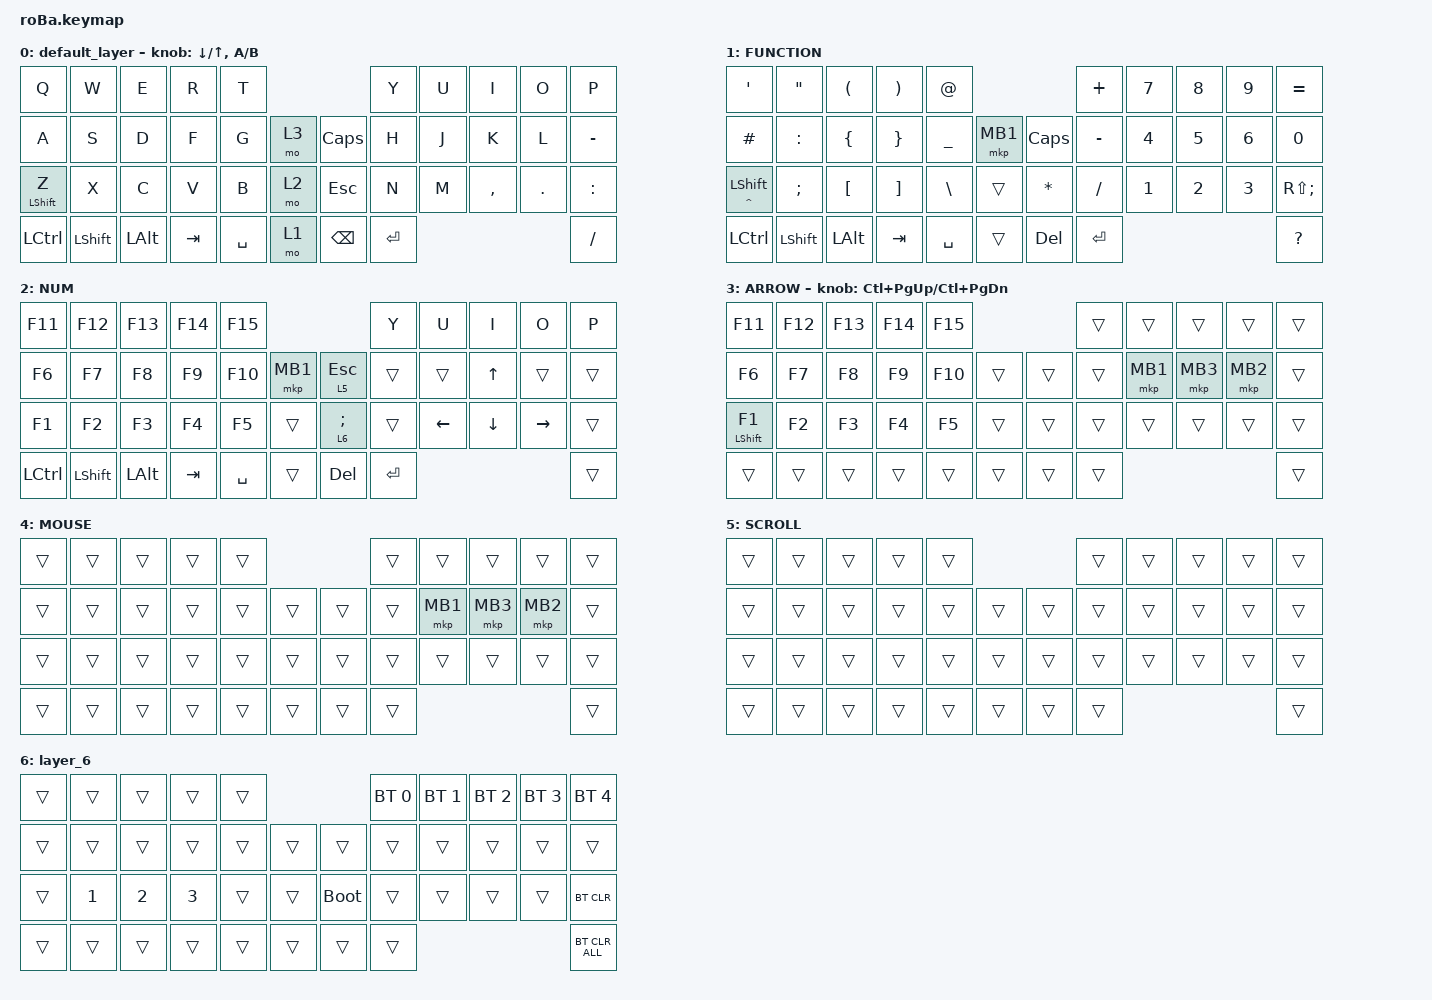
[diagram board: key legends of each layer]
#include <behaviors.dtsi>
#include <dt-bindings/zmk/bt.h>
#include <dt-bindings/zmk/keys.h>
#include <dt-bindings/zmk/pointing.h>

&mt {
    flavor = "balanced";
    quick-tap-ms = <0>;
};

&trackball {
    automouse-layer = <4>;
    scroll-layers = <5>;

    // arrows {
    //     layers = <3>;
    //     bindings =
    //         <&kp RIGHT_ARROW>,
    //         <&kp LEFT_ARROW>,
    //         <&kp UP_ARROW>,
    //         <&kp DOWN_ARROW>;
    //     tick = <10>;
    //     wait-ms = <5>;
    //     tap-ms = <5>;
    // };
};

/ {
    combos {
        compatible = "zmk,combos";

        tab {
            bindings = <&kp TAB>;
            key-positions = <11 12>;
        };

        shift_tab {
            bindings = <&kp LS(TAB)>;
            key-positions = <12 13>;
        };

        muhennkann {
            bindings = <&to_layer_0 INT_MUHENKAN>;
            key-positions = <11 10>;
        };

        double_quotation {
            bindings = <&kp DOUBLE_QUOTES>;
            key-positions = <20 21>;
        };

        eq {
            bindings = <&kp EQUAL>;
            key-positions = <24 25>;
        };
    };

    macros {
        to_layer_0: to_layer_0 {
            compatible = "zmk,behavior-macro-one-param";
            #binding-cells = <1>;
            bindings = <&to 0 &macro_param_1to1 &kp MACRO_PLACEHOLDER>;
            label = "TO_LAYER_0";
        };
    };

    behaviors {
        lt_to_layer_0: lt_to_layer_0 {
            compatible = "zmk,behavior-hold-tap";
            label = "LAYER_TAP_TO_0";
            bindings = <&mo>, <&to_layer_0>;

            #binding-cells = <2>;
            tapping-term-ms = <200>;
        };
    };

    keymap {
        compatible = "zmk,keymap";

        default_layer {
            bindings = <
&kp Q             &kp W           &kp E         &kp R    &kp T                                &kp Y      &kp U  &kp I      &kp O       &kp P
&kp A             &kp S           &kp D         &kp F    &kp G      &mo 3      &kp CAPSLOCK   &kp H      &kp J  &kp K      &kp L       &kp MINUS
&mt LEFT_SHIFT Z  &kp X           &kp C         &kp V    &kp B      &mo 2      &kp ESCAPE     &kp N      &kp M  &kp COMMA  &kp PERIOD  &kp COLON
&kp LCTRL         &kp LEFT_SHIFT  &kp LEFT_ALT  &kp TAB  &kp SPACE  &mo 1      &kp BACKSPACE  &kp ENTER                                &kp SLASH
            >;

            sensor-bindings =
                <&inc_dec_kp DOWN_ARROW UP_ARROW>,
                <&inc_dec_kp A B>;
        };

        FUNCTION {
            bindings = <
&kp SQT               &kp DOUBLE_QUOTES  &kp LEFT_PARENTHESIS  &kp RIGHT_PARENTHESIS  &kp AT_SIGN                               &kp PLUS   &kp N7        &kp N8        &kp N9        &kp EQUAL
&kp HASH              &kp COLON          &kp LEFT_BRACE        &kp RIGHT_BRACE        &kp UNDERSCORE  &mkp MB1      &kp CAPS    &kp MINUS  &kp NUMBER_4  &kp N5        &kp NUMBER_6  &kp N0
&mt CARET LEFT_SHIFT  &kp SEMICOLON      &kp LEFT_BRACKET      &kp RIGHT_BRACKET      &kp BACKSLASH   &trans        &kp STAR    &kp SLASH  &kp NUMBER_1  &kp NUMBER_2  &kp NUMBER_3  &kp RS(SEMICOLON)
&kp LEFT_CONTROL      &kp LSHFT          &kp LEFT_ALT          &kp TAB                &kp SPACE       &trans        &kp DELETE  &kp ENTER                                            &kp QUESTION
            >;
        };

        NUM {
            bindings = <
&kp F11    &kp F12         &kp F13       &kp F14  &kp F15                                              &kp Y      &kp U     &kp I         &kp O      &kp P
&kp F6     &kp F7          &kp F8        &kp F9   &kp F10    &mkp MB1      &lt_to_layer_0 5 ESCAPE     &trans     &trans    &kp UP_ARROW  &trans     &trans
&kp F1     &kp F2          &kp F3        &kp F4   &kp F5     &trans        &lt_to_layer_0 6 SEMICOLON  &trans     &kp LEFT  &kp DOWN      &kp RIGHT  &trans
&kp LCTRL  &kp LEFT_SHIFT  &kp LEFT_ALT  &kp TAB  &kp SPACE  &trans        &kp DELETE                  &kp ENTER                                     &trans
            >;
        };

        ARROW {
            bindings = <
&kp F11            &kp F12  &kp F13  &kp F14  &kp F15                      &trans  &trans    &trans    &trans    &trans
&kp F6             &kp F7   &kp F8   &kp F9   &kp F10  &trans      &trans  &trans  &mkp MB1  &mkp MB3  &mkp MB2  &trans
&mt LEFT_SHIFT F1  &kp F2   &kp F3   &kp F4   &kp F5   &trans      &trans  &trans  &trans    &trans    &trans    &trans
&trans             &trans   &trans   &trans   &trans   &trans      &trans  &trans                                &trans
            >;

            sensor-bindings = <&inc_dec_kp LC(PAGE_UP) LC(PAGE_DOWN)>;
        };

        MOUSE {
            bindings = <
&trans  &trans  &trans  &trans  &trans                      &trans  &trans    &trans    &trans    &trans
&trans  &trans  &trans  &trans  &trans  &trans      &trans  &trans  &mkp MB1  &mkp MB3  &mkp MB2  &trans
&trans  &trans  &trans  &trans  &trans  &trans      &trans  &trans  &trans    &trans    &trans    &trans
&trans  &trans  &trans  &trans  &trans  &trans      &trans  &trans                                &trans
            >;
        };

        SCROLL {
            bindings = <
&trans  &trans  &trans  &trans  &trans                      &trans  &trans  &trans  &trans  &trans
&trans  &trans  &trans  &trans  &trans  &trans      &trans  &trans  &trans  &trans  &trans  &trans
&trans  &trans  &trans  &trans  &trans  &trans      &trans  &trans  &trans  &trans  &trans  &trans
&trans  &trans  &trans  &trans  &trans  &trans      &trans  &trans                          &trans
            >;
        };

        layer_6 {
            bindings = <
&trans  &trans        &trans        &trans        &trans                           &bt BT_SEL 0  &bt BT_SEL 1  &bt BT_SEL 2  &bt BT_SEL 3  &bt BT_SEL 4
&trans  &trans        &trans        &trans        &trans  &trans      &trans       &trans        &trans        &trans        &trans        &trans
&trans  &kp NUMBER_1  &kp NUMBER_2  &kp NUMBER_3  &trans  &trans      &bootloader  &trans        &trans        &trans        &trans        &bt BT_CLR
&trans  &trans        &trans        &trans        &trans  &trans      &trans       &trans                                                  &bt BT_CLR_ALL
            >;
        };
    };
};
